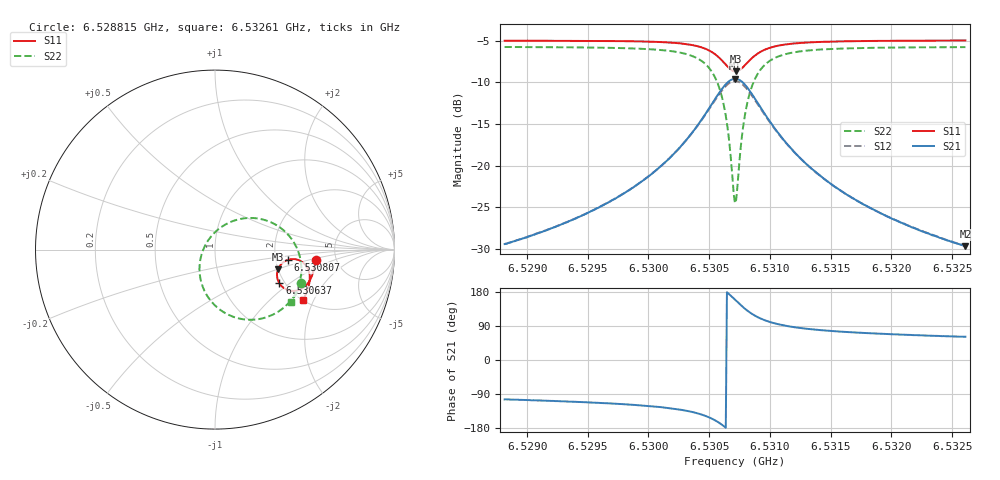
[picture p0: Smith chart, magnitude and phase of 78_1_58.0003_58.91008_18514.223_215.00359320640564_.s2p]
#  HZ  S  RI  R  50.00
! Rohde & Schwarz Vector Network Analyzer
! Rohde-Schwarz,ZNB20-2Port,1311601062101988,3.16
! Created: UTC 3/21/2024, 12:53:46 AM
! freq[Hz]  re:S11  im:S11  re:S21  im:S21  re:S12  im:S12  re:S22  im:S22
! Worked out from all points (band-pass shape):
!   401 points, 6.528815 GHz to 6.53261 GHz, reference 50 ohm
!   highest |S21| = -9.55 dB at 6.530712 GHz (marker M1); lowest = -29.7 dB at 6.53261 GHz (marker M2)
!   |S21| within 3 dB of the highest: 6.530524 GHz to 6.530904 GHz (379.9 kHz wide, 0.00582 % of centre)
!   lowest |S11| = -8.7 dB at 6.530722 GHz (marker M3), VSWR 2.16, Z = 99.9 - j25.3 ohm
!   |S11| at or under -10 dB: nowhere
!   |S22| runs from -24.5 to -5.7 dB; largest |S21 - S12| = 0.014
!   S11 on the Smith chart (normalised r, x): 6.528815 GHz: 3.48, -0.58; 6.530637 GHz: 1.87, -0.84; 6.530807 GHz: 2.34, -0.32; 6.53261 GHz: 2.03, -1.66
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6.5288153e9  0.5608 -0.0566  -0.00821 -0.0328  -0.00885 -0.0326  0.4813 -0.1865
6.5294508e9  0.5514 -0.1111  -0.0181 -0.0468  -0.0192 -0.0464  0.4488 -0.2487
6.5298113e9  0.5401 -0.1464  -0.0313 -0.0617  -0.0331 -0.061  0.4138 -0.294
6.5300864e9  0.5237 -0.1785  -0.0541 -0.0806  -0.0564 -0.079  0.3625 -0.339
6.530314e9  0.494 -0.2104  -0.0997 -0.1031  -0.103 -0.0996  0.2703 -0.3815
6.5304753e9  0.4459 -0.2296  -0.1769 -0.1094  -0.1793 -0.1016  0.129 -0.3825
6.5305701e9  0.3959 -0.2212  -0.2547 -0.0765  -0.253 -0.0653  0.000454 -0.3117
6.5306365e9  0.3587 -0.1877  -0.3086 -0.00719  -0.3008 0.0039  -0.0757 -0.1845
6.530665e9  0.3485 -0.1642  -0.3204 0.037  -0.31 0.0461  -0.0866 -0.1091
6.5306935e9  0.3455 -0.137  -0.3195 0.0858  -0.3075 0.0922  -0.0754 -0.029
6.5307124e9  0.3485 -0.1184  -0.3111 0.1186  -0.2984 0.1225  -0.0551 0.0226
6.5307219e9  0.3513 -0.1095  -0.3043 0.1341  -0.2917 0.137  -0.0411 0.0469
6.5307314e9  0.355 -0.1009  -0.2962 0.1489  -0.2836 0.1507  -0.0249 0.0693
6.5307693e9  0.3778 -0.0727  -0.2522 0.1966  -0.2414 0.1945  0.0564 0.1389
6.5308073e9  0.4068 -0.0569  -0.1996 0.2225  -0.1915 0.2187  0.1477 0.172
6.5308737e9  0.4536 -0.0548  -0.1179 0.2259  -0.1139 0.2222  0.2851 0.1622
6.5309685e9  0.4952 -0.0767  -0.047 0.1934  -0.0452 0.1913  0.3998 0.0911
6.5311108e9  0.5203 -0.1134  -0.00369 0.1435  -0.00251 0.1427  0.4638 -0.0103
6.531348e9  0.5282 -0.1578  0.0151 0.0941  0.0162 0.0938  0.4814 -0.1137
6.5316231e9  0.5242 -0.1931  0.0186 0.0651  0.0195 0.0649  0.4731 -0.1802
6.5319835e9  0.5141 -0.2284  0.0181 0.0455  0.0189 0.0453  0.4554 -0.2341
6.5326096e9  0.4921 -0.2781  0.0158 0.0288  0.0165 0.0286  0.423 -0.2945
